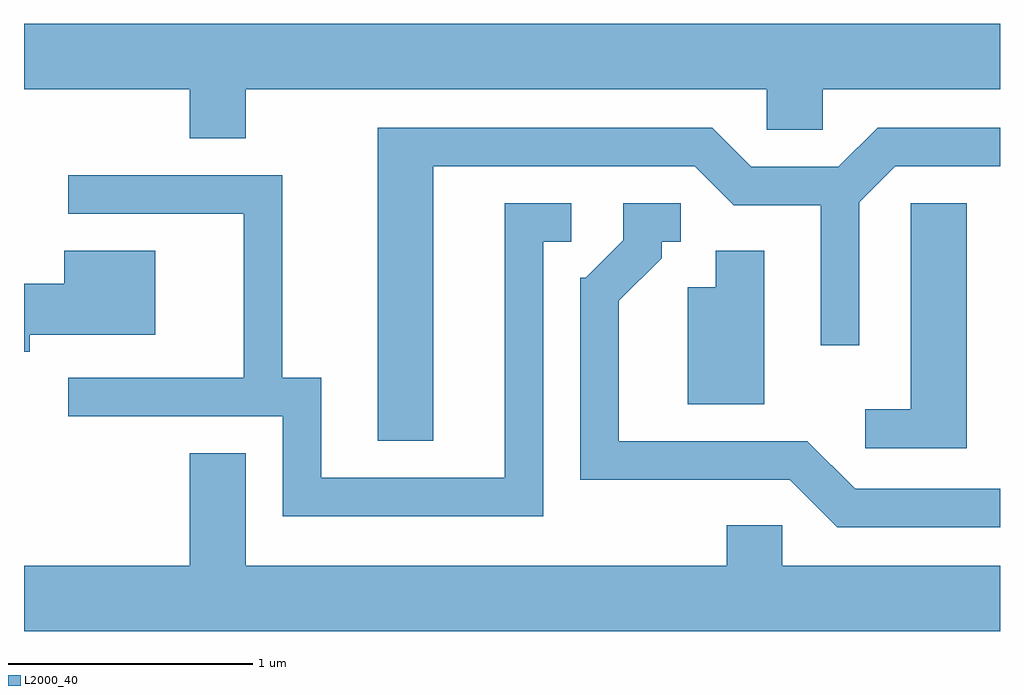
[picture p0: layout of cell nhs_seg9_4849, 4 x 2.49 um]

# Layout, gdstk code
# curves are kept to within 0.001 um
import gdstk
lib = gdstk.Library(unit=1e-6, precision=1e-09)
def P(c, l, *ps):  # polygons
    for p in ps: c.add(gdstk.Polygon(p, *l))
L2000_40 = (2000, 40)

nhs_seg9_4849 = lib.new_cell('nhs_seg9_4849')
P(nhs_seg9_4849, L2000_40, [(328.519,2040.656),(330.656,2040.656),(330.656,2040.491),(330.884,2040.491),(330.884,2040.656),(331.611,2040.656),(331.611,2040.924),(327.611,2040.924),(327.611,2040.656),(328.291,2040.656),(328.291,2040.456),(328.519,2040.456)],
  [(329.289,2040.341),(330.359,2040.341),(330.519,2040.181),(330.876,2040.181),(330.876,2039.608),(331.034,2039.608),(331.034,2040.194),(331.182,2040.341),(331.611,2040.341),(331.611,2040.499),(331.109,2040.499),(330.949,2040.339),(330.592,2040.339),(330.432,2040.499),(329.061,2040.499),(329.061,2039.216),(329.289,2039.216)],
  [(329.739,2040.031),(329.853,2040.031),(329.853,2040.189),(329.581,2040.189),(329.581,2039.064),(328.829,2039.064),(328.829,2039.474),(328.669,2039.474),(328.669,2040.304),(327.793,2040.304),(327.793,2040.146),(328.511,2040.146),(328.511,2039.474),(327.793,2039.474),(327.793,2039.316),(328.671,2039.316),(328.671,2038.906),(329.739,2038.906)],
  [(331.611,2039.019),(331.017,2039.019),(330.822,2039.214),(330.049,2039.214),(330.049,2039.789),(330.224,2039.964),(330.224,2040.031),(330.303,2040.031),(330.303,2040.189),(330.066,2040.189),(330.066,2040.037),(329.914,2039.884),(329.891,2039.884),(329.891,2039.056),(330.749,2039.056),(330.944,2038.861),(331.611,2038.861)],
  [(331.474,2040.189),(331.246,2040.189),(331.246,2039.344),(331.058,2039.344),(331.058,2039.186),(331.474,2039.186)],
  [(330.644,2039.994),(330.446,2039.994),(330.446,2039.844),(330.331,2039.844),(330.331,2039.366),(330.644,2039.366)],
  [(327.634,2039.651),(328.149,2039.651),(328.149,2039.994),(327.776,2039.994),(327.776,2039.859),(327.611,2039.859),(327.611,2039.581),(327.634,2039.581)],
  [(331.611,2038.704),(330.719,2038.704),(330.719,2038.869),(330.491,2038.869),(330.491,2038.704),(328.519,2038.704),(328.519,2039.164),(328.291,2039.164),(328.291,2038.704),(327.611,2038.704),(327.611,2038.436),(331.611,2038.436)])

lib.write_gds('nhs_seg9_4849.gds')
